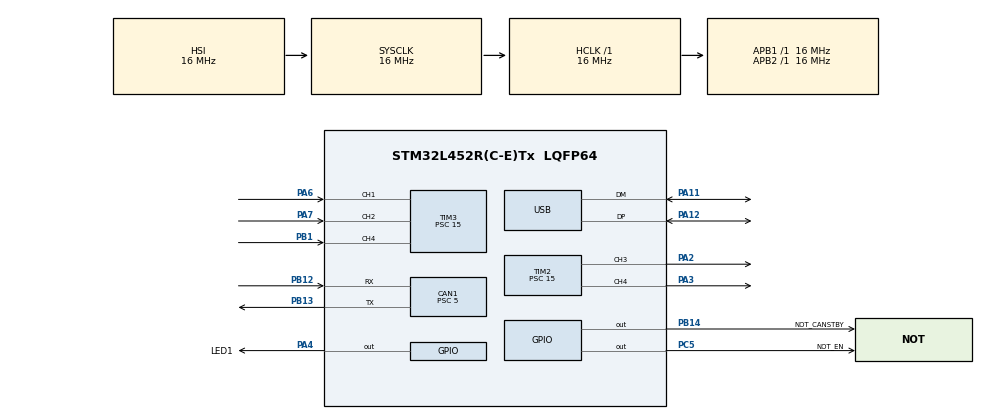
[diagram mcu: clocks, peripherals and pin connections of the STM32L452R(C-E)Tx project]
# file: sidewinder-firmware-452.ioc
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CAN1.BS1=CAN_BS1_6TQ
CAN1.BS2=CAN_BS2_6TQ
CAN1.CalculateBaudRate=246153
CAN1.CalculateTimeBit=4062
CAN1.CalculateTimeQuantum=312.5
CAN1.Prescaler=5
Mcu.Family=STM32L4
Mcu.Name=STM32L452R(C-E)Tx
Mcu.Package=LQFP64
NVIC.CAN1_RX0_IRQn=true\:0\:0\:false\:false\:true\:true\:true\:true
NVIC.CAN1_RX1_IRQn=true\:0\:0\:false\:false\:true\:true\:true\:true
NVIC.PriorityGroup=NVIC_PRIORITYGROUP_4
NVIC.TIM1_UP_TIM16_IRQn=true\:0\:0\:false\:false\:true\:true\:true\:true
NVIC.TIM2_IRQn=true\:0\:0\:false\:false\:true\:true\:true\:true
NVIC.TIM3_IRQn=true\:0\:0\:false\:false\:true\:true\:true\:true
NVIC.USB_IRQn=true\:0\:0\:false\:false\:true\:false\:true\:true
PA11.Mode=Device
PA11.Signal=USB_DM
PA12.Mode=Device
PA12.Signal=USB_DP
PA13\ (JTMS/SWDIO).Mode=JTAG_5_pins
PA13\ (JTMS/SWDIO).Signal=SYS_JTMS-SWDIO
PA14\ (JTCK/SWCLK).Mode=JTAG_5_pins
PA14\ (JTCK/SWCLK).Signal=SYS_JTCK-SWCLK
PA15\ (JTDI).Mode=JTAG_5_pins
PA15\ (JTDI).Signal=SYS_JTDI
PA2.Signal=S_TIM2_CH3
PA3.Signal=S_TIM2_CH4
PA4.GPIO_Label=LED1
PA4.Signal=GPIO_Output
PA6.Signal=S_TIM3_CH1
PA7.Signal=S_TIM3_CH2
PA8.Signal=S_TIM1_CH1
PB1.Signal=S_TIM3_CH4
PB12.Mode=CAN_Activate
PB12.Signal=CAN1_RX
PB13.Mode=CAN_Activate
PB13.Signal=CAN1_TX
PB14.GPIO_Label=NOT_CANSTBY
PB14.Signal=GPIO_Output
PB3\ (JTDO/TRACESWO).Mode=JTAG_5_pins
PB3\ (JTDO/TRACESWO).Signal=SYS_JTDO-SWO
PB4\ (NJTRST).Mode=JTAG_5_pins
PB4\ (NJTRST).Signal=SYS_JTRST
PC5.GPIO_Label=NOT_EN
PC5.Signal=GPIO_Output
ProjectManager.HeapSize=0x200
ProjectManager.StackSize=0x400
ProjectManager.TargetToolchain=STM32CubeIDE
RCC.ADCFreq_Value=48000000
RCC.AHBFreq_Value=16000000
RCC.APB1Freq_Value=16000000
RCC.APB1TimFreq_Value=16000000
RCC.APB2Freq_Value=16000000
RCC.APB2TimFreq_Value=16000000
RCC.CortexFreq_Value=16000000
RCC.HCLKFreq_Value=16000000
RCC.HSE_VALUE=8000000
RCC.HSI48_VALUE=48000000
RCC.HSI_VALUE=16000000
RCC.LSE_VALUE=32768
RCC.MSI_VALUE=4000000
RCC.PLLSAI1N=24
RCC.SYSCLKFreq_VALUE=16000000
RCC.SYSCLKSource=RCC_SYSCLKSOURCE_HSI
RCC.USBFreq_Value=48000000
RCC.VCOOutputFreq_Value=32000000
SH.S_TIM1_CH1.0=TIM1_CH1
SH.S_TIM2_CH3.0=TIM2_CH3,PWM Generation3 CH3
SH.S_TIM2_CH4.0=TIM2_CH4,PWM Generation4 CH4
SH.S_TIM3_CH1.0=TIM3_CH1,Input_Capture1_from_TI1
SH.S_TIM3_CH2.0=TIM3_CH2,Input_Capture2_from_TI2
SH.S_TIM3_CH4.0=TIM3_CH4,Input_Capture4_from_TI4
TIM1.AutoReloadPreload=TIM_AUTORELOAD_PRELOAD_ENABLE
TIM1.Period=5000
TIM1.Prescaler=15
TIM2.Channel-PWM\ Generation3\ CH3=TIM_CHANNEL_3
TIM2.Channel-PWM\ Generation4\ CH4=TIM_CHANNEL_4
TIM2.ClockDivision=TIM_CLOCKDIVISION_DIV1
TIM2.Period=20000
TIM2.Prescaler=15
TIM3.Channel-Input_Capture1_from_TI1=TIM_CHANNEL_1
TIM3.Channel-Input_Capture2_from_TI2=TIM_CHANNEL_2
TIM3.Channel-Input_Capture4_from_TI4=TIM_CHANNEL_4
TIM3.CounterMode=TIM_COUNTERMODE_UP
TIM3.Prescaler=15
USB_DEVICE.CLASS_NAME_FS=CDC
USB_DEVICE.VirtualMode=Cdc
USB_DEVICE.VirtualModeFS=Cdc_FS
VP_TIM1_VS_ClockSourceINT.Mode=Internal
VP_TIM2_VS_ClockSourceINT.Mode=Internal
VP_TIM3_VS_ClockSourceINT.Mode=Internal
VP_USB_DEVICE_VS_USB_DEVICE_CDC_FS.Mode=CDC_FS
board=custom

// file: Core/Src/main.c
/* USER CODE BEGIN Header */
/**
 ******************************************************************************
 * @file           : main.c
 * @brief          : Main program body
 ******************************************************************************
 * @attention
 *
 * Copyright (c) 2024 STMicroelectronics.
 * All rights reserved.
 *
 * This software is licensed under terms that can be found in the LICENSE file
 * in the root directory of this software component.
 * If no LICENSE file comes with this software, it is provided AS-IS.
 *
 ******************************************************************************
 */
/* USER CODE END Header */
#include "main.h"
#include "usb_device.h"

/* USER CODE BEGIN Includes */
#include "stdlib.h"
#include "string.h"

#include "usbd_cdc_if.h"

/* IMPORTANT: include one of the following config files */
#include "configs/marlin.h"
/*#include "configs/tugboat.h"*/

/* USER CODE END Includes */

CAN_HandleTypeDef hcan1;

TIM_HandleTypeDef htim1;
TIM_HandleTypeDef htim2;
TIM_HandleTypeDef htim3;

/* USER CODE BEGIN PV */

/*
 * Hardware Configuration / Pinout
 *
 * Output side:
 * Mux Ch. | STM Ch. | Function
 * --------+---------+----------
 *    1    |   2.4   | Rudder
 *    2    |   2.3   | Sails
 *    3    |   2.2   | Unused
 *    4    |   2.1   | Unused
 *
 * Input side:
 * Mux Ch. | STM Ch.  | Connector Ch. | RC Ch. | RC Function
 * --------+----------+---------------+--------+------------------------
 *  (SW)   |    3.2   |   1           |   5    |  Switch
 *   1     |    3.4   |   2           |   1    |  Aileron / right vert.
 *   2     |    3.1   |   3           |   3    |  Throttle / left hor.
 *   3     |    3.3   |   4           |   X    |  Unused
 *   4     |    1.2   |   5           |   X    |  Unused
 */

/* uncomment this to log every input etc. */
#define DEBUG_PRINTS_ENABLE
#ifdef DEBUG_PRINTS_ENABLE
#warning "Lots of debug prints enabled!"
char debug_buffer[100];
#define D(...) do {snprintf(debug_buffer, sizeof(debug_buffer), __VA_ARGS__); CDC_Transmit_FS((uint8_t*)debug_buffer, strlen(debug_buffer));}while(0)
#else
#define D(...)
#endif

/* uncomment this to always use RC inputs, for testing */
/*#define FORCE_RC_OVERRIDE_ONLY*/
#ifdef FORCE_RC_OVERRIDE_ONLY
#warning "FORCE_RC_OVERRIDE_ONLY is enabled, RasPi control is disabled!"
/* RC control only, for testing */
void set_rc_override_enabled(uint32_t enable) {
/*	D("RC override force-enabled, no effect\r\n"); */
}
uint32_t is_rc_override_enabled() {
	return 1;
}
#else
/* RC switch determines if CAN commands are overridden with RC */
uint32_t rc_override_enabled = 0;
void set_rc_override_enabled(uint32_t enable) {
	rc_override_enabled = !!enable;
	/*D("RC override set to %lu\r\n", enable);*/
}
uint32_t is_rc_override_enabled() {
	return rc_override_enabled;
}
#endif

/* aliases to make talking to the mux'ed PWMs a bit nicer */
struct rc_pwm_channel {
	TIM_HandleTypeDef *timer;
	uint32_t active_channel;
	uint32_t tim_channel;
	volatile uint32_t *CCR;
};

struct rc_pwm_channel pwm_out_1;
struct rc_pwm_channel pwm_out_2;
struct rc_pwm_channel pwm_in_1;
struct rc_pwm_channel pwm_in_2;
struct rc_pwm_channel pwm_in_3;

void init_rc_pwms(void) {
	pwm_out_1.active_channel = HAL_TIM_ACTIVE_CHANNEL_4;
	pwm_out_2.active_channel = HAL_TIM_ACTIVE_CHANNEL_3;
	pwm_in_1.active_channel = HAL_TIM_ACTIVE_CHANNEL_2;
	pwm_in_2.active_channel = HAL_TIM_ACTIVE_CHANNEL_4;
	pwm_in_3.active_channel = HAL_TIM_ACTIVE_CHANNEL_1;

	pwm_out_1.tim_channel = TIM_CHANNEL_4;
	pwm_out_2.tim_channel = TIM_CHANNEL_3;
	pwm_in_1.tim_channel = TIM_CHANNEL_2;
	pwm_in_2.tim_channel = TIM_CHANNEL_4;
	pwm_in_3.tim_channel = TIM_CHANNEL_1;

	pwm_out_1.timer = &htim2;
	pwm_out_2.timer = &htim2;
	pwm_in_1.timer = &htim3;
	pwm_in_2.timer = &htim3;
	pwm_in_3.timer = &htim3;

	pwm_out_1.CCR = &pwm_out_1.timer->Instance->CCR4;
	pwm_out_2.CCR = &pwm_out_1.timer->Instance->CCR3;
	pwm_in_1.CCR = &pwm_in_1.timer->Instance->CCR2;
	pwm_in_2.CCR = &pwm_in_2.timer->Instance->CCR4;
	pwm_in_3.CCR = &pwm_in_3.timer->Instance->CCR1;
}

CAN_FilterTypeDef sFilterConfig;
CAN_TxHeaderTypeDef TxHeader;
CAN_RxHeaderTypeDef RxHeader;
uint8_t TxData[8];
uint8_t RxData[8];
uint32_t TxMailbox;

/* USER CODE END PV */

void SystemClock_Config(void);
static void MX_GPIO_Init(void);
static void MX_TIM2_Init(void);
static void MX_TIM3_Init(void);
static void MX_CAN1_Init(void);
static void MX_TIM1_Init(void);

/* USER CODE BEGIN 0 */

int32_t scale_pwm_value(int64_t value, int64_t oldmin, int64_t oldmax,
		int64_t newmin, int64_t newmax) {
	value = (((value - oldmin) * (newmax - newmin)) / (oldmax - oldmin) + newmin);
	if(value < newmin)
		return((int32_t)(newmin));
	else if(value > newmax)
		return ((int32_t)(newmax));
	else
		return((int32_t)(value));

}

void set_timer_polarity_and_reset(struct rc_pwm_channel *t, uint32_t polarity) {
	__HAL_TIM_SET_COUNTER(t->timer, 0);
    __HAL_TIM_SET_CAPTUREPOLARITY(t->timer, t->tim_channel, polarity);
}

uint32_t get_timer_polarity(struct rc_pwm_channel *t) {
	/* can't find a handy macro */
	/* D("reg: 0x%lx\r\n", (t->timer->Instance->CCER >> t->tim_channel) & 2);*/
	return (t->timer->Instance->CCER >> t->tim_channel) & 2;
}

uint32_t is_channel_active(TIM_HandleTypeDef *htim,
		struct rc_pwm_channel *pwm_chan) {
	return htim == pwm_chan->timer && htim->Channel == pwm_chan->active_channel;
}

uint32_t identify_timer(TIM_HandleTypeDef *htim) {
	if (htim->Instance == TIM1) return 1;
	if (htim->Instance == TIM2) return 2;
	if (htim->Instance == TIM3) return 3;
	return -1;
}

/*
 * PWM input interrupt callback 1
 * Note: apparently, only one debug print statement per method call is allowed
 */
void HAL_TIM_IC_CaptureCallback(TIM_HandleTypeDef *htim) {
	/* we have triggered on the rising edge of a PWM pulse */
	/*D("rising egde from %lu\r\n", identify_timer(htim)); */

	/* first, reset all counters */
	__HAL_TIM_SET_COUNTER(pwm_in_1.timer, 0);
	__HAL_TIM_SET_COUNTER(pwm_in_2.timer, 0);
	__HAL_TIM_SET_COUNTER(pwm_in_3.timer, 0);
	__HAL_TIM_SET_COUNTER(&htim1, 0);

	/* then set to trigger on falling edge */
	__HAL_TIM_SET_CAPTUREPOLARITY(pwm_in_1.timer, pwm_in_1.tim_channel,
			TIM_INPUTCHANNELPOLARITY_FALLING);
	__HAL_TIM_SET_CAPTUREPOLARITY(pwm_in_2.timer, pwm_in_2.tim_channel,
			TIM_INPUTCHANNELPOLARITY_FALLING);
	__HAL_TIM_SET_CAPTUREPOLARITY(pwm_in_3.timer, pwm_in_3.tim_channel,
			TIM_INPUTCHANNELPOLARITY_FALLING);

	/* and disable interrupts */
	__HAL_TIM_DISABLE_IT(pwm_in_1.timer, pwm_in_1.active_channel << 1);
	__HAL_TIM_DISABLE_IT(pwm_in_2.timer, pwm_in_2.active_channel << 1);
	__HAL_TIM_DISABLE_IT(pwm_in_3.timer, pwm_in_3.active_channel << 1);

	/* finally, start a timer to collect our values in 10 ms (half a PWM period) */
	HAL_TIM_Base_Start_IT(&htim1);
}

/*
 * PWM input interrupt callback 2
 * Note: apparently, only one debug print statement per method call is allowed
 */
void HAL_TIM_PeriodElapsedCallback(TIM_HandleTypeDef *htim) {
	/* we have triggered after waiting 10 ms for all the PWM signals */

	/*D("Ch 2 in %lu, Ch3 in %lu, Ch 1 in %lu, 10ms timer %lu, triggered by %lu\r\n ",
			*pwm_in_2.CCR, *pwm_in_3.CCR, *pwm_in_1.CCR, htim1.Instance->CNT,
			identify_timer(htim));*/

	/* connector 1 => mode switch */
	/* pulse shorter than the lower threshold (switch_on_threshold),
	 * or longer than the upper threshold (switch_on_upper)
	 * => no override
	 * otherwise => override */
	set_rc_override_enabled((*pwm_in_1.CCR) > SWITCH_ON_THRESHOLD &&  (*pwm_in_1.CCR) < SWITCH_ON_UPPER);

	if (is_rc_override_enabled()) {
		/* connector 2 => rudder at channel 1 */
		*pwm_out_1.CCR = scale_pwm_value(*pwm_in_2.CCR, PWM_MIN_PULSE,
				PWM_MAX_PULSE, CHAN1_OUT_MINVAL, CHAN1_OUT_MAXVAL);
		/* connector 3 => sail at channel 2 */
		*pwm_out_2.CCR = scale_pwm_value(*pwm_in_3.CCR, PWM_MIN_PULSE,
				PWM_MAX_PULSE, CHAN2_OUT_MINVAL, CHAN2_OUT_MAXVAL);
		D("Rudder in: %lu, sail in: %lu, rudder out: %lu, sail out: %lu\r\n", *pwm_in_2.CCR, *pwm_in_3.CCR, *pwm_out_1.CCR, *pwm_out_2.CCR);
	} else {
		/* D("Control deactivated\r\n"); */
	}

	/* disable 10 ms timer */
	HAL_TIM_Base_Stop_IT(&htim1);

	/* trigger on rising edge */
	__HAL_TIM_SET_CAPTUREPOLARITY(pwm_in_1.timer, pwm_in_1.tim_channel,
			TIM_INPUTCHANNELPOLARITY_RISING);
	__HAL_TIM_SET_CAPTUREPOLARITY(pwm_in_2.timer, pwm_in_2.tim_channel,
			TIM_INPUTCHANNELPOLARITY_RISING);
	__HAL_TIM_SET_CAPTUREPOLARITY(pwm_in_3.timer, pwm_in_3.tim_channel,
			TIM_INPUTCHANNELPOLARITY_RISING);

	/* enable interrupts on channel timers again */
	__HAL_TIM_ENABLE_IT(pwm_in_1.timer, pwm_in_1.active_channel << 1);
	__HAL_TIM_ENABLE_IT(pwm_in_2.timer, pwm_in_2.active_channel << 1);
	__HAL_TIM_ENABLE_IT(pwm_in_3.timer, pwm_in_3.active_channel << 1);

}

/* CAN interrupt callback */
void HAL_CAN_RxFifo0MsgPendingCallback(CAN_HandleTypeDef *hcan) {
	HAL_CAN_GetRxMessage(&hcan1, CAN_RX_FIFO0, &RxHeader, RxData);
	 /*D("CAN received addr: %lx data: %02x %02x %02x %02x %02x %02x %02x %02x as int: %ld\r\n", RxHeader.ExtId, RxData[0],
			RxData[1], RxData[2], RxData[3], RxData[4], RxData[5], RxData[6],
			RxData[7], *((int32_t *)RxData)); */

	if (is_rc_override_enabled()) {
		return;
	}

	if (RxHeader.ExtId == CAN_ADDRESS_RUDDER) {
		/* Out-Ch 1 is rudder */
		*pwm_out_1.CCR = scale_pwm_value(*(int32_t*) RxData,
				MIN_RUDDER_ANGLE, MAX_RUDDER_ANGLE, CHAN1_OUT_MINVAL,
				CHAN1_OUT_MAXVAL);
		D("CAN got rudder angle %ld, output %lu\r\n", *(int32_t* ) RxData,
				*pwm_out_1.CCR);
	} else if (RxHeader.ExtId == CAN_ADDRESS_SAIL) {
		/* Out-Ch 2 is sail, abs value because we map [-90, +90] to [int_min, int_max] to [pwm_sail_closed, pwm_sail_open] */
		*pwm_out_2.CCR = scale_pwm_value(abs(*(int32_t*) RxData),
				MIN_SAIL_ANGLE, MAX_SAIL_ANGLE, CHAN2_OUT_MINVAL,
				CHAN2_OUT_MAXVAL);
		D("CAN got sail angle %ld, output %lu\r\n", *(int32_t* ) RxData,
				*pwm_out_2.CCR);
	}
}

/* USER CODE END 0 */

int main(void)
{

  /* MCU Configuration--------------------------------------------------------*/

  /* Reset of all peripherals, Initializes the Flash interface and the Systick. */
  HAL_Init();

  /* Configure the system clock */
  SystemClock_Config();

  /* Initialize all configured peripherals */
  MX_GPIO_Init();
  MX_TIM2_Init();
  MX_TIM3_Init();
  MX_USB_DEVICE_Init();
  MX_CAN1_Init();
  MX_TIM1_Init();
  /* USER CODE BEGIN 2 */

#ifdef DEBUG_PRINTS_ENABLE
	/* give the user some time to connect via usb/uart */
	HAL_Delay(5*1000);
#endif

	D("Init...\r\n");

	/* init pwm structs */
	init_rc_pwms();

	/* start capturing pwm inputs */
	HAL_TIM_IC_Start_IT(pwm_in_1.timer, pwm_in_1.tim_channel);
	HAL_TIM_IC_Start_IT(pwm_in_2.timer, pwm_in_2.tim_channel);
	HAL_TIM_IC_Start_IT(pwm_in_3.timer, pwm_in_3.tim_channel);

	HAL_TIM_PWM_Start(pwm_out_1.timer, pwm_out_1.tim_channel);
	HAL_TIM_PWM_Start(pwm_out_2.timer, pwm_out_2.tim_channel);

	/* Initialize CAN filter */
	/* TODO: Copied verbatim from robooter motor controller, wtf does it do? Can we delete this? */
	sFilterConfig.FilterBank = 0;
	sFilterConfig.FilterMode = CAN_FILTERMODE_IDMASK;
	sFilterConfig.FilterScale = CAN_FILTERSCALE_32BIT;
	sFilterConfig.FilterIdHigh = 0x0000;
	sFilterConfig.FilterIdLow = 0x0000;
	sFilterConfig.FilterMaskIdHigh = 0x0000;
	sFilterConfig.FilterMaskIdLow = 0x0000;
	sFilterConfig.FilterFIFOAssignment = CAN_RX_FIFO0;
	sFilterConfig.FilterActivation = ENABLE;
	sFilterConfig.SlaveStartFilterBank = 14;
	if (HAL_CAN_ConfigFilter(&hcan1, &sFilterConfig) != HAL_OK) {
		Error_Handler();
	}

	if (HAL_CAN_Start(&hcan1) != HAL_OK) {
		Error_Handler();
	}
	if (HAL_CAN_ActivateNotification(&hcan1,
			CAN_IT_RX_FIFO0_MSG_PENDING | CAN_IT_RX_FIFO1_MSG_PENDING
					| CAN_IT_TX_MAILBOX_EMPTY) != HAL_OK) {
		Error_Handler();
	}

	D("Ready\r\n");

  /* USER CODE END 2 */

  /* Infinite loop */
	while (1) {

    /* USER CODE BEGIN 3 */

		/* heart beat */
		HAL_Delay(1000);
		HAL_GPIO_TogglePin(LED1_GPIO_Port, LED1_Pin);
		/* D("."); */

	}
  /* USER CODE END 3 */
}

void SystemClock_Config(void)
{
  RCC_OscInitTypeDef RCC_OscInitStruct = {0};
  RCC_ClkInitTypeDef RCC_ClkInitStruct = {0};

  /** Configure the main internal regulator output voltage
  */
  if (HAL_PWREx_ControlVoltageScaling(PWR_REGULATOR_VOLTAGE_SCALE1) != HAL_OK)
  {
    Error_Handler();
  }

  /** Initializes the RCC Oscillators according to the specified parameters
  * in the RCC_OscInitTypeDef structure.
  */
  RCC_OscInitStruct.OscillatorType = RCC_OSCILLATORTYPE_HSI|RCC_OSCILLATORTYPE_MSI;
  RCC_OscInitStruct.HSIState = RCC_HSI_ON;
  RCC_OscInitStruct.HSICalibrationValue = 64;
  RCC_OscInitStruct.MSIState = RCC_MSI_ON;
  RCC_OscInitStruct.MSICalibrationValue = 0;
  RCC_OscInitStruct.MSIClockRange = RCC_MSIRANGE_6;
  RCC_OscInitStruct.PLL.PLLState = RCC_PLL_NONE;
  if (HAL_RCC_OscConfig(&RCC_OscInitStruct) != HAL_OK)
  {
    Error_Handler();
  }

  /** Initializes the CPU, AHB and APB buses clocks
  */
  RCC_ClkInitStruct.ClockType = RCC_CLOCKTYPE_HCLK|RCC_CLOCKTYPE_SYSCLK
                              |RCC_CLOCKTYPE_PCLK1|RCC_CLOCKTYPE_PCLK2;
  RCC_ClkInitStruct.SYSCLKSource = RCC_SYSCLKSOURCE_HSI;
  RCC_ClkInitStruct.AHBCLKDivider = RCC_SYSCLK_DIV1;
  RCC_ClkInitStruct.APB1CLKDivider = RCC_HCLK_DIV1;
  RCC_ClkInitStruct.APB2CLKDivider = RCC_HCLK_DIV1;

  if (HAL_RCC_ClockConfig(&RCC_ClkInitStruct, FLASH_LATENCY_0) != HAL_OK)
  {
    Error_Handler();
  }
}

static void MX_CAN1_Init(void)
{

  hcan1.Instance = CAN1;
  hcan1.Init.Prescaler = 5;
  hcan1.Init.Mode = CAN_MODE_NORMAL;
  hcan1.Init.SyncJumpWidth = CAN_SJW_1TQ;
  hcan1.Init.TimeSeg1 = CAN_BS1_6TQ;
  hcan1.Init.TimeSeg2 = CAN_BS2_6TQ;
  hcan1.Init.TimeTriggeredMode = DISABLE;
  hcan1.Init.AutoBusOff = DISABLE;
  hcan1.Init.AutoWakeUp = DISABLE;
  hcan1.Init.AutoRetransmission = DISABLE;
  hcan1.Init.ReceiveFifoLocked = DISABLE;
  hcan1.Init.TransmitFifoPriority = DISABLE;
  if (HAL_CAN_Init(&hcan1) != HAL_OK)
  {
    Error_Handler();
  }

}

static void MX_TIM1_Init(void)
{

  TIM_ClockConfigTypeDef sClockSourceConfig = {0};
  TIM_MasterConfigTypeDef sMasterConfig = {0};

  htim1.Instance = TIM1;
  htim1.Init.Prescaler = 15;
  htim1.Init.CounterMode = TIM_COUNTERMODE_UP;
  htim1.Init.Period = 5000;
  htim1.Init.ClockDivision = TIM_CLOCKDIVISION_DIV1;
  htim1.Init.RepetitionCounter = 0;
  htim1.Init.AutoReloadPreload = TIM_AUTORELOAD_PRELOAD_ENABLE;
  if (HAL_TIM_Base_Init(&htim1) != HAL_OK)
  {
    Error_Handler();
  }
  sClockSourceConfig.ClockSource = TIM_CLOCKSOURCE_INTERNAL;
  if (HAL_TIM_ConfigClockSource(&htim1, &sClockSourceConfig) != HAL_OK)
  {
    Error_Handler();
  }
  sMasterConfig.MasterOutputTrigger = TIM_TRGO_RESET;
  sMasterConfig.MasterOutputTrigger2 = TIM_TRGO2_RESET;
  sMasterConfig.MasterSlaveMode = TIM_MASTERSLAVEMODE_DISABLE;
  if (HAL_TIMEx_MasterConfigSynchronization(&htim1, &sMasterConfig) != HAL_OK)
  {
    Error_Handler();
  }

}

static void MX_TIM2_Init(void)
{

  TIM_ClockConfigTypeDef sClockSourceConfig = {0};
  TIM_MasterConfigTypeDef sMasterConfig = {0};
  TIM_OC_InitTypeDef sConfigOC = {0};

  htim2.Instance = TIM2;
  htim2.Init.Prescaler = 15;
  htim2.Init.CounterMode = TIM_COUNTERMODE_UP;
  htim2.Init.Period = 20000;
  htim2.Init.ClockDivision = TIM_CLOCKDIVISION_DIV1;
  htim2.Init.AutoReloadPreload = TIM_AUTORELOAD_PRELOAD_DISABLE;
  if (HAL_TIM_Base_Init(&htim2) != HAL_OK)
  {
    Error_Handler();
  }
  sClockSourceConfig.ClockSource = TIM_CLOCKSOURCE_INTERNAL;
  if (HAL_TIM_ConfigClockSource(&htim2, &sClockSourceConfig) != HAL_OK)
  {
    Error_Handler();
  }
  if (HAL_TIM_PWM_Init(&htim2) != HAL_OK)
  {
    Error_Handler();
  }
  sMasterConfig.MasterOutputTrigger = TIM_TRGO_RESET;
  sMasterConfig.MasterSlaveMode = TIM_MASTERSLAVEMODE_DISABLE;
  if (HAL_TIMEx_MasterConfigSynchronization(&htim2, &sMasterConfig) != HAL_OK)
  {
    Error_Handler();
  }
  sConfigOC.OCMode = TIM_OCMODE_PWM1;
  sConfigOC.Pulse = 0;
  sConfigOC.OCPolarity = TIM_OCPOLARITY_HIGH;
  sConfigOC.OCFastMode = TIM_OCFAST_DISABLE;
  if (HAL_TIM_PWM_ConfigChannel(&htim2, &sConfigOC, TIM_CHANNEL_3) != HAL_OK)
  {
    Error_Handler();
  }
  if (HAL_TIM_PWM_ConfigChannel(&htim2, &sConfigOC, TIM_CHANNEL_4) != HAL_OK)
  {
    Error_Handler();
  }
  HAL_TIM_MspPostInit(&htim2);

}

static void MX_TIM3_Init(void)
{

  TIM_ClockConfigTypeDef sClockSourceConfig = {0};
  TIM_MasterConfigTypeDef sMasterConfig = {0};
  TIM_IC_InitTypeDef sConfigIC = {0};

  htim3.Instance = TIM3;
  htim3.Init.Prescaler = 15;
  htim3.Init.CounterMode = TIM_COUNTERMODE_UP;
  htim3.Init.Period = 65535;
  htim3.Init.ClockDivision = TIM_CLOCKDIVISION_DIV1;
  htim3.Init.AutoReloadPreload = TIM_AUTORELOAD_PRELOAD_DISABLE;
  if (HAL_TIM_Base_Init(&htim3) != HAL_OK)
  {
    Error_Handler();
  }
  sClockSourceConfig.ClockSource = TIM_CLOCKSOURCE_INTERNAL;
  if (HAL_TIM_ConfigClockSource(&htim3, &sClockSourceConfig) != HAL_OK)
  {
    Error_Handler();
  }
  if (HAL_TIM_IC_Init(&htim3) != HAL_OK)
  {
    Error_Handler();
  }
  sMasterConfig.MasterOutputTrigger = TIM_TRGO_RESET;
  sMasterConfig.MasterSlaveMode = TIM_MASTERSLAVEMODE_DISABLE;
  if (HAL_TIMEx_MasterConfigSynchronization(&htim3, &sMasterConfig) != HAL_OK)
  {
    Error_Handler();
  }
  sConfigIC.ICPolarity = TIM_INPUTCHANNELPOLARITY_RISING;
  sConfigIC.ICSelection = TIM_ICSELECTION_DIRECTTI;
  sConfigIC.ICPrescaler = TIM_ICPSC_DIV1;
  sConfigIC.ICFilter = 0;
  if (HAL_TIM_IC_ConfigChannel(&htim3, &sConfigIC, TIM_CHANNEL_1) != HAL_OK)
  {
    Error_Handler();
  }
  if (HAL_TIM_IC_ConfigChannel(&htim3, &sConfigIC, TIM_CHANNEL_2) != HAL_OK)
  {
    Error_Handler();
  }
  if (HAL_TIM_IC_ConfigChannel(&htim3, &sConfigIC, TIM_CHANNEL_4) != HAL_OK)
  {
    Error_Handler();
  }

}

static void MX_GPIO_Init(void)
{
  GPIO_InitTypeDef GPIO_InitStruct = {0};

  /* GPIO Ports Clock Enable */
  __HAL_RCC_GPIOA_CLK_ENABLE();
  __HAL_RCC_GPIOC_CLK_ENABLE();
  __HAL_RCC_GPIOB_CLK_ENABLE();

  /*Configure GPIO pin Output Level */
  HAL_GPIO_WritePin(LED1_GPIO_Port, LED1_Pin, GPIO_PIN_RESET);

  /*Configure GPIO pin Output Level */
  HAL_GPIO_WritePin(NOT_EN_GPIO_Port, NOT_EN_Pin, GPIO_PIN_RESET);

  /*Configure GPIO pin Output Level */
  HAL_GPIO_WritePin(NOT_CANSTBY_GPIO_Port, NOT_CANSTBY_Pin, GPIO_PIN_RESET);

  /*Configure GPIO pin : LED1_Pin */
  GPIO_InitStruct.Pin = LED1_Pin;
  GPIO_InitStruct.Mode = GPIO_MODE_OUTPUT_PP;
  GPIO_InitStruct.Pull = GPIO_NOPULL;
  GPIO_InitStruct.Speed = GPIO_SPEED_FREQ_LOW;
  HAL_GPIO_Init(LED1_GPIO_Port, &GPIO_InitStruct);

  /*Configure GPIO pin : NOT_EN_Pin */
  GPIO_InitStruct.Pin = NOT_EN_Pin;
  GPIO_InitStruct.Mode = GPIO_MODE_OUTPUT_PP;
  GPIO_InitStruct.Pull = GPIO_NOPULL;
  GPIO_InitStruct.Speed = GPIO_SPEED_FREQ_LOW;
  HAL_GPIO_Init(NOT_EN_GPIO_Port, &GPIO_InitStruct);

  /*Configure GPIO pin : NOT_CANSTBY_Pin */
  GPIO_InitStruct.Pin = NOT_CANSTBY_Pin;
  GPIO_InitStruct.Mode = GPIO_MODE_OUTPUT_PP;
  GPIO_InitStruct.Pull = GPIO_NOPULL;
  GPIO_InitStruct.Speed = GPIO_SPEED_FREQ_LOW;
  HAL_GPIO_Init(NOT_CANSTBY_GPIO_Port, &GPIO_InitStruct);

}

void Error_Handler(void)
{
	__disable_irq();
	while (1) {
	}
}
